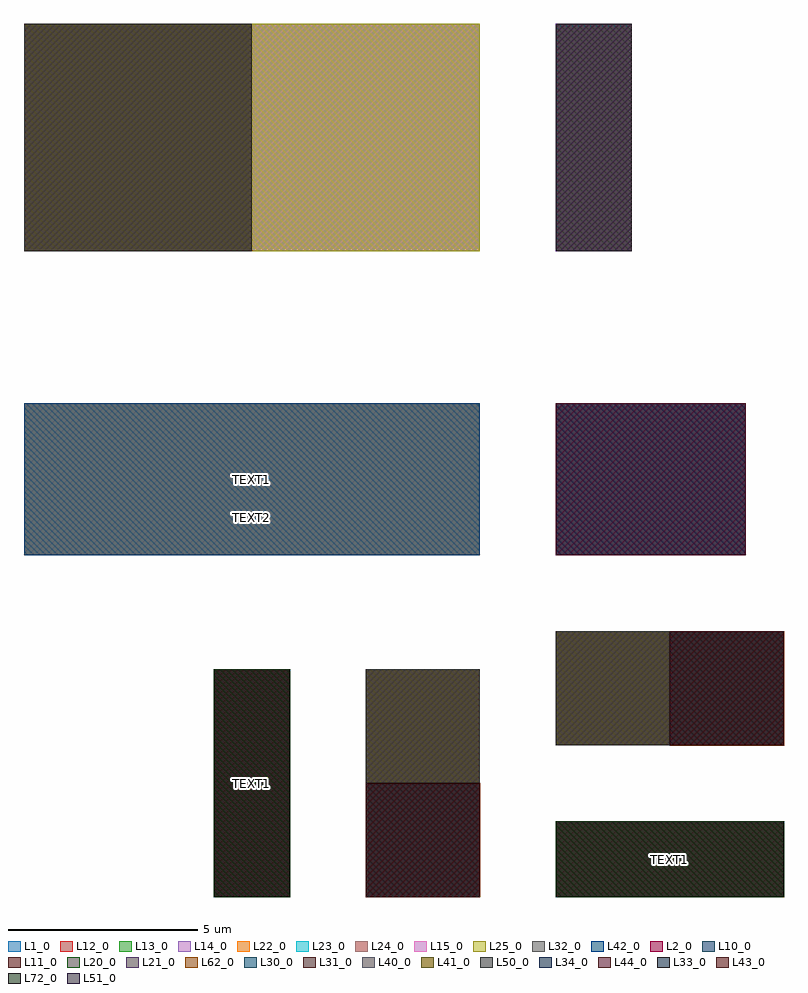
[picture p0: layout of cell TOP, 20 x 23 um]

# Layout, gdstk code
import gdstk
lib = gdstk.Library(unit=1e-6, precision=1e-09)
def R(c, l, rs):  # rectangles x0, y0, x1, y1
    for r in rs: c.add(gdstk.rectangle(r[:2], r[2:], *l))
L1_0 = (1, 0)
L2_0 = (2, 0)
L10_0 = (10, 0)
L11_0 = (11, 0)
L12_0 = (12, 0)
L13_0 = (13, 0)
L14_0 = (14, 0)
L15_0 = (15, 0)
L20_0 = (20, 0)
L21_0 = (21, 0)
L22_0 = (22, 0)
L23_0 = (23, 0)
L24_0 = (24, 0)
L25_0 = (25, 0)
L30_0 = (30, 0)
L31_0 = (31, 0)
L32_0 = (32, 0)
L33_0 = (33, 0)
L34_0 = (34, 0)
L40_0 = (40, 0)
L41_0 = (41, 0)
L42_0 = (42, 0)
L43_0 = (43, 0)
L44_0 = (44, 0)
L50_0 = (50, 0)
L51_0 = (51, 0)
L61_0 = (61, 0)
L62_0 = (62, 0)
L71_0 = (71, 0)
L72_0 = (72, 0)

top = lib.new_cell('TOP')
R(top, L1_0, [(-8,1,-6,7), (-4,1,-1,4), (1,1,7,3), (4,5,7,8), (-13,10,-1,14), (1,10,6,14), (-7,18,-1,24)])
R(top, L2_0, [(-4,4,-1,7), (1,5,4,8), (-13,18,-7,24), (1,18,3,24)])
R(top, L10_0, [(-4,4,-1,7), (1,5,4,8), (-13,18,-7,24), (1,18,3,24)])
R(top, L11_0, [(-4,4,-1,7), (1,5,4,8), (-13,18,-7,24), (1,18,3,24)])
R(top, L12_0, [(-8,1,-6,7), (-4,1,-1,4), (1,1,7,3), (4,5,7,8), (-13,10,-1,14), (1,10,6,14), (-7,18,-1,24)])
R(top, L13_0, [(-8,1,-6,7), (-4,1,-1,4), (1,1,7,3), (4,5,7,8), (-13,10,-1,14), (1,10,6,14), (-7,18,-1,24)])
R(top, L14_0, [(-8,1,-6,7), (-4,1,-1,4), (1,1,7,3), (4,5,7,8), (-13,10,-1,14), (1,10,6,14), (-7,18,-1,24)])
R(top, L15_0, [(-13,10,-1,14), (1,10,6,14), (-7,18,-1,24)])
R(top, L20_0, [(-4,4,-1,7), (1,5,4,8), (-13,18,-7,24), (1,18,3,24)])
R(top, L21_0, [(-4,4,-1,7), (1,5,4,8), (-13,18,-7,24), (1,18,3,24)])
R(top, L22_0, [(-8,1,-6,7), (-4,1,-1,4), (1,1,7,3), (4,5,7,8), (-13,10,-1,14), (1,10,6,14), (-7,18,-1,24)])
R(top, L23_0, [(-8,1,-6,7), (-4,1,-1,4), (1,1,7,3), (4,5,7,8), (-13,10,-1,14), (1,10,6,14), (-7,18,-1,24)])
R(top, L24_0, [(-8,1,-6,7), (-4,1,-1,4), (1,1,7,3), (4,5,7,8), (-13,10,-1,14), (1,10,6,14), (-7,18,-1,24)])
R(top, L25_0, [(-13,10,-1,14), (1,10,6,14), (-7,18,-1,24)])
R(top, L30_0, [(-4,4,-1,7), (1,5,4,8), (-13,18,-7,24)])
R(top, L31_0, [(-4,4,-1,7), (1,5,4,8), (-13,18,-7,24)])
R(top, L32_0, [(1,1,7,3), (-13,10,-1,14), (1,10,6,14)])
R(top, L33_0, [(-8,1,-6,7), (-4,1,-1,4), (1,1,7,3), (4,5,7,8)])
R(top, L34_0, [(-8,1,-6,7), (-4,1,-1,4), (4,5,7,8), (1,10,6,14)])
R(top, L40_0, [(-4,4,-1,7), (1,5,4,8), (-13,18,-7,24)])
R(top, L41_0, [(-4,4,-1,7), (1,5,4,8), (-13,18,-7,24)])
R(top, L42_0, [(1,1,7,3), (-13,10,-1,14), (1,10,6,14)])
R(top, L43_0, [(-8,1,-6,7), (-4,1,-1,4), (1,1,7,3), (4,5,7,8)])
R(top, L44_0, [(-8,1,-6,7), (-4,1,-1,4), (4,5,7,8), (1,10,6,14)])
R(top, L50_0, [(-4,4,-1,7), (1,5,4,8), (-13,18,-7,24)])
R(top, L51_0, [(1,18,3,24)])
R(top, L62_0, [(-8.001,0.999,-5.999,7.001), (-4.001,0.999,-0.999,4.001), (-4.001,0.999,-0.999,4.001), (0.999,0.999,7.001,3.001), (3.999,4.999,7.001,8.001), (3.999,4.999,7.001,8.001)])
R(top, L72_0, [(-8.001,0.999,-5.999,7.001), (0.999,0.999,7.001,3.001)])
top.add(gdstk.FlexPath([(1,1),(1,3)], 0, ends="flush", simple_path=True, layer=61, datatype=0))  # L61_0
top.add(gdstk.FlexPath([(1,3),(7,3)], 0, ends="flush", simple_path=True, layer=61, datatype=0))  # L61_0
top.add(gdstk.FlexPath([(7,3),(7,1)], 0, ends="flush", simple_path=True, layer=61, datatype=0))  # L61_0
top.add(gdstk.FlexPath([(7,1),(1,1)], 0, ends="flush", simple_path=True, layer=61, datatype=0))  # L61_0
top.add(gdstk.FlexPath([(-4,1),(-4,4)], 0, ends="flush", simple_path=True, layer=61, datatype=0))  # L61_0
top.add(gdstk.FlexPath([(-4,4),(-1,4)], 0, ends="flush", simple_path=True, layer=61, datatype=0))  # L61_0
top.add(gdstk.FlexPath([(-1,4),(-1,1)], 0, ends="flush", simple_path=True, layer=61, datatype=0))  # L61_0
top.add(gdstk.FlexPath([(-1,1),(-4,1)], 0, ends="flush", simple_path=True, layer=61, datatype=0))  # L61_0
top.add(gdstk.FlexPath([(-8,1),(-8,7)], 0, ends="flush", simple_path=True, layer=61, datatype=0))  # L61_0
top.add(gdstk.FlexPath([(-8,7),(-6,7)], 0, ends="flush", simple_path=True, layer=61, datatype=0))  # L61_0
top.add(gdstk.FlexPath([(-6,7),(-6,1)], 0, ends="flush", simple_path=True, layer=61, datatype=0))  # L61_0
top.add(gdstk.FlexPath([(-6,1),(-8,1)], 0, ends="flush", simple_path=True, layer=61, datatype=0))  # L61_0
top.add(gdstk.FlexPath([(4,5),(4,8)], 0, ends="flush", simple_path=True, layer=61, datatype=0))  # L61_0
top.add(gdstk.FlexPath([(4,8),(7,8)], 0, ends="flush", simple_path=True, layer=61, datatype=0))  # L61_0
top.add(gdstk.FlexPath([(7,8),(7,5)], 0, ends="flush", simple_path=True, layer=61, datatype=0))  # L61_0
top.add(gdstk.FlexPath([(7,5),(4,5)], 0, ends="flush", simple_path=True, layer=61, datatype=0))  # L61_0
top.add(gdstk.FlexPath([(-13,10),(-13,14)], 0, ends="flush", simple_path=True, layer=61, datatype=0))  # L61_0
top.add(gdstk.FlexPath([(-13,14),(-1,14)], 0, ends="flush", simple_path=True, layer=61, datatype=0))  # L61_0
top.add(gdstk.FlexPath([(-1,14),(-1,10)], 0, ends="flush", simple_path=True, layer=61, datatype=0))  # L61_0
top.add(gdstk.FlexPath([(-1,10),(-13,10)], 0, ends="flush", simple_path=True, layer=61, datatype=0))  # L61_0
top.add(gdstk.FlexPath([(1,10),(1,14)], 0, ends="flush", simple_path=True, layer=61, datatype=0))  # L61_0
top.add(gdstk.FlexPath([(1,14),(6,14)], 0, ends="flush", simple_path=True, layer=61, datatype=0))  # L61_0
top.add(gdstk.FlexPath([(6,14),(6,10)], 0, ends="flush", simple_path=True, layer=61, datatype=0))  # L61_0
top.add(gdstk.FlexPath([(6,10),(1,10)], 0, ends="flush", simple_path=True, layer=61, datatype=0))  # L61_0
top.add(gdstk.FlexPath([(-7,18),(-7,24)], 0, ends="flush", simple_path=True, layer=61, datatype=0))  # L61_0
top.add(gdstk.FlexPath([(-7,24),(-1,24)], 0, ends="flush", simple_path=True, layer=61, datatype=0))  # L61_0
top.add(gdstk.FlexPath([(-1,24),(-1,18)], 0, ends="flush", simple_path=True, layer=61, datatype=0))  # L61_0
top.add(gdstk.FlexPath([(-1,18),(-7,18)], 0, ends="flush", simple_path=True, layer=61, datatype=0))  # L61_0
top.add(gdstk.FlexPath([(1,1),(1,3)], 0, ends="flush", simple_path=True, layer=71, datatype=0))  # L71_0
top.add(gdstk.FlexPath([(7,3),(7,1)], 0, ends="flush", simple_path=True, layer=71, datatype=0))  # L71_0
top.add(gdstk.FlexPath([(-4,1),(-4,4)], 0, ends="flush", simple_path=True, layer=71, datatype=0))  # L71_0
top.add(gdstk.FlexPath([(-4,4),(-1,4)], 0, ends="flush", simple_path=True, layer=71, datatype=0))  # L71_0
top.add(gdstk.FlexPath([(-1,4),(-1,1)], 0, ends="flush", simple_path=True, layer=71, datatype=0))  # L71_0
top.add(gdstk.FlexPath([(-1,1),(-4,1)], 0, ends="flush", simple_path=True, layer=71, datatype=0))  # L71_0
top.add(gdstk.FlexPath([(-8,7),(-6,7)], 0, ends="flush", simple_path=True, layer=71, datatype=0))  # L71_0
top.add(gdstk.FlexPath([(-6,1),(-8,1)], 0, ends="flush", simple_path=True, layer=71, datatype=0))  # L71_0
top.add(gdstk.FlexPath([(4,5),(4,8)], 0, ends="flush", simple_path=True, layer=71, datatype=0))  # L71_0
top.add(gdstk.FlexPath([(4,8),(7,8)], 0, ends="flush", simple_path=True, layer=71, datatype=0))  # L71_0
top.add(gdstk.FlexPath([(7,8),(7,5)], 0, ends="flush", simple_path=True, layer=71, datatype=0))  # L71_0
top.add(gdstk.FlexPath([(7,5),(4,5)], 0, ends="flush", simple_path=True, layer=71, datatype=0))  # L71_0
top.add(gdstk.Label('TEXT2', (-7,11), layer=3, texttype=0))
top.add(gdstk.Label('TEXT1', (-7,4), layer=3, texttype=0))
top.add(gdstk.Label('TEXT1', (4,2), layer=3, texttype=0))
top.add(gdstk.Label('TEXT1', (-7,12), layer=3, texttype=0))
top.add(gdstk.Label('TEXT2', (-7,11), layer=60, texttype=0))
top.add(gdstk.Label('TEXT1', (-7,4), layer=60, texttype=0))
top.add(gdstk.Label('TEXT1', (4,2), layer=60, texttype=0))
top.add(gdstk.Label('TEXT1', (-7,12), layer=60, texttype=0))
top.add(gdstk.Label('TEXT1', (-7,4), layer=70, texttype=0))
top.add(gdstk.Label('TEXT1', (4,2), layer=70, texttype=0))
top.add(gdstk.Label('TEXT1', (-7,12), layer=70, texttype=0))

lib.write_gds('TOP.gds')
